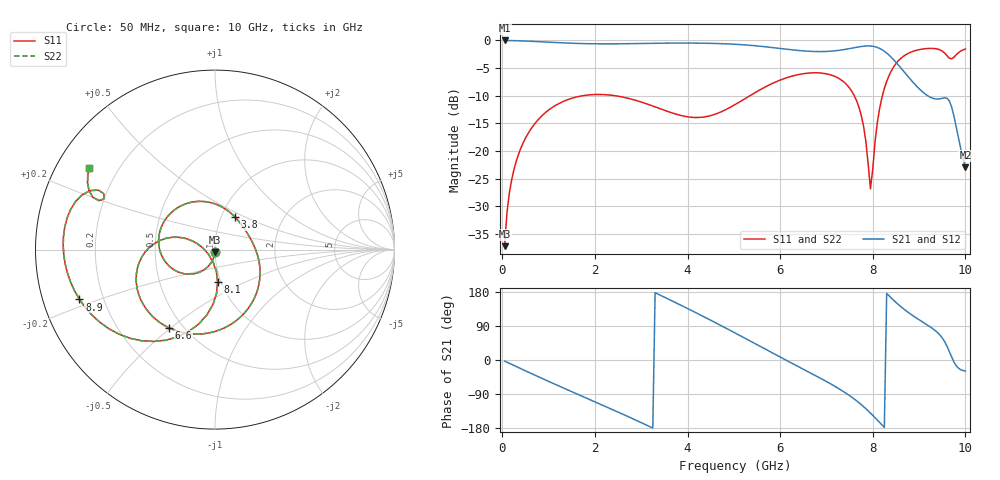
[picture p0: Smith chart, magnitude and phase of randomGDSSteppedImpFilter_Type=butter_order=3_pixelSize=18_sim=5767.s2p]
! freq	dB(S11)	phase(S11)	dB(S12)	phase(S12)
!  dB(S21)	phase(S21)	dB(S22)	phase(S22)
!S-par simulation data
#  GHz  S  DB  R 50
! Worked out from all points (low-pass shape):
!   200 points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, 50 MHz to 10 GHz, reference 50 ohm
!   highest |S21| = -0.01 dB at 50 MHz (marker M1); lowest = -22.9 dB at 10 GHz (marker M2)
!   |S21| within 3 dB of the highest: start of sweep to 8.395 GHz
!   lowest |S11| = -37.2 dB at 50 MHz (marker M3), VSWR 1.03, Z = 49.9 - j1.37 ohm
!   |S11| at or under -10 dB: start of sweep to 1.742 GHz; 2.432 GHz to 5.346 GHz (2.914 GHz wide, 74.9 % of centre); 7.601 GHz to 8.208 GHz (607.7 MHz wide, 7.69 % of centre)
!   |S22| runs from -37.2 to -1.4 dB; largest |S21 - S12| = 0
!   S11 on the Smith chart (normalised r, x): 50 MHz: 1.00, -0.03; 3.8 GHz: 1.17, +0.44; 6.6 GHz: 0.42, -0.49; 8.1 GHz: 0.96, -0.36; 8.9 GHz: 0.11, -0.18; 10 GHz: 0.10, +0.29
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0.05  -37.22 -91.4  -0.01 -2.9  -0.01 -2.9  -37.22 -91.4
0.2  -25.31 -101.8  -0.03 -11.5  -0.03 -11.5  -25.31 -101.8
0.5  -17.70 -119.2  -0.11 -28.6  -0.11 -28.6  -17.70 -119.2
1.15  -11.76 -155.2  -0.38 -64.6  -0.38 -64.6  -11.76 -155.2
1.75  -9.99 172.5  -0.58 -96.9  -0.58 -96.9  -9.99 172.5
2.7  -10.43 121.2  -0.60 -148.4  -0.60 -148.4  -10.43 121.1
3.4  -12.33 81.5  -0.51 171.7  -0.51 171.7  -12.33 81.4
3.8  -13.46 57.8  -0.48 147.9  -0.48 147.9  -13.46 57.7
4.45  -13.71 17.8  -0.52 108.1  -0.52 108.1  -13.71 17.7
5.05  -11.49 -20.6  -0.71 69.8  -0.71 69.8  -11.49 -20.6
5.8  -7.91 -69.5  -1.26 20.8  -1.26 20.8  -7.91 -69.5
6.6  -5.92 -120.6  -1.95 -30.6  -1.95 -30.6  -5.92 -120.7
6.7  -5.86 -126.9  -2.00 -37.1  -2.00 -37.1  -5.86 -127.0
7.6  -9.99 171.3  -1.32 -103.0  -1.32 -103.0  -9.99 171.1
7.8  -15.48 159.0  -1.05 -122.8  -1.05 -122.8  -15.50 158.6
7.95  -26.86 -151.5  -1.01 -139.9  -1.01 -139.9  -27.11 -151.9
8.1  -14.78 -85.4  -1.28 -158.5  -1.28 -158.5  -14.79 -85.1
8.35  -6.38 -107.9  -2.65 169.6  -2.65 169.6  -6.38 -107.7
8.9  -1.89 -159.8  -7.87 114.2  -7.87 114.2  -1.89 -159.8
9.3  -1.45 171.6  -10.48 82.2  -10.48 82.2  -1.45 171.5
9.65  -3.20 153.4  -10.90 23.0  -10.90 23.0  -3.21 153.3
10  -1.56 147.0  -22.92 -29.0  -22.92 -29.0  -1.56 146.9
